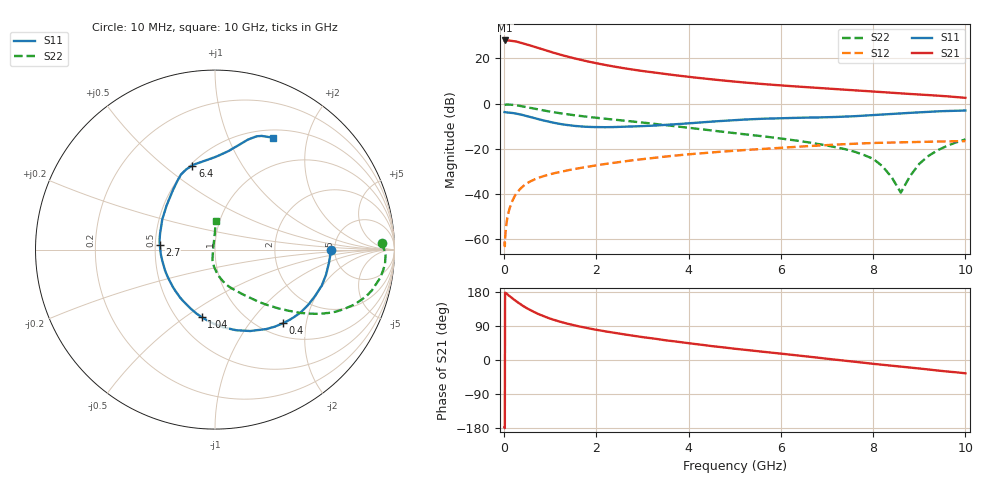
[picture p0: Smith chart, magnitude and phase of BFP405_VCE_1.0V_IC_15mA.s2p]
! Infineon Technologies  Discrete & RF Semiconductors
! BFP405
! VCE =  1.0 V,  IC =  15 mA
! Common Emitter S-Parameters:  Jan 2016
# GHz  S  MA  R  50
!  f  S11  S21  S12  S22
! GHz  MAG  ANG  MAG  ANG  MAG  ANG  MAG  ANG
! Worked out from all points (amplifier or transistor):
!   233 points, 10 MHz to 10 GHz, reference 50 ohm
!   highest |S21| = 27.9 dB at 20 MHz (marker M1)
!   |S21| within 3 dB of that: start of sweep to 685.9 MHz
!   unconditionally stable (mu >= 1): start of sweep to 25.44 MHz; 1.743 GHz to end of sweep
!   at 200 MHz: K = 0.26, MSG = 34.9 dB, |S12| = -42.2 dB
!   at 1.74 GHz: K = 1.00, MSG = 23.6 dB, |S12| = -28.2 dB
!   at 10 GHz: K = 1.46, MAG = 5.6 dB, |S12| = -16.6 dB
!   S11 on the Smith chart (normalised r, x): 10 MHz: 4.67, -0.04; 400 MHz: 1.24, -1.48; 1.04 GHz: 0.66, -0.58; 2.7 GHz: 0.53, +0.03; 6.4 GHz: 0.51, +0.63; 10 GHz: 0.60, +1.47
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0.01  0.6474 -0.2  24.8 -177.5  0.0009 14.1  0.9292 2.4
0.02  0.6433 -2.4  24.91 177.9  0.001 101.0  0.9427 0.0
0.1  0.6345 -12.6  24.85 170.2  0.0041 86.3  0.9506 -4.7
0.15  0.6278 -18.6  24.53 165.6  0.006 82.0  0.9428 -7.4
0.26  0.601 -31.8  23.57 155.2  0.0101 76.5  0.9128 -12.8
0.4  0.559 -47.2  21.7 143.4  0.0145 70.7  0.8659 -18.6
0.5  0.5267 -57.2  20.27 136.1  0.0173 67.4  0.8277 -22.0
0.7  0.4647 -75.2  17.45 123.5  0.0219 62.4  0.7532 -27.4
0.9  0.4129 -91.1  15.06 113.3  0.0256 59.3  0.6896 -31.2
1.04  0.3827 -101.2  13.62 107.5  0.028 57.9  0.6517 -33.2
1.3  0.3429 -118.5  11.45 98.1  0.0322 56.1  0.593 -36.5
1.68  0.3111 -140.8  9.171 87.2  0.0381 54.3  0.5275 -40.0
2.14  0.2999 -163.4  7.312 76.7  0.0453 52.3  0.468 -43.7
2.7  0.3088 174.8  5.834 65.9  0.0542 49.6  0.4093 -47.7
3.4  0.3329 153.0  4.636 53.9  0.0657 45.2  0.3428 -53.1
5.1  0.437 118.6  2.992 28.5  0.092 32.8  0.2157 -70.0
6.4  0.4849 105.1  2.364 11.5  0.1115 22.9  0.1485 -82.0
6.8  0.4931 99.4  2.215 6.2  0.1176 19.5  0.1281 -85.8
8.4  0.5895 78.0  1.729 -15.1  0.1376 4.1  0.0236 -121.6
8.6  0.6066 76.3  1.679 -17.5  0.1392 2.3  0.0107 175.4
9.2  0.6562 71.5  1.541 -25.0  0.1434 -2.7  0.0696 92.5
10  0.7018 62.7  1.339 -35.0  0.1477 -8.6  0.1612 88.9
